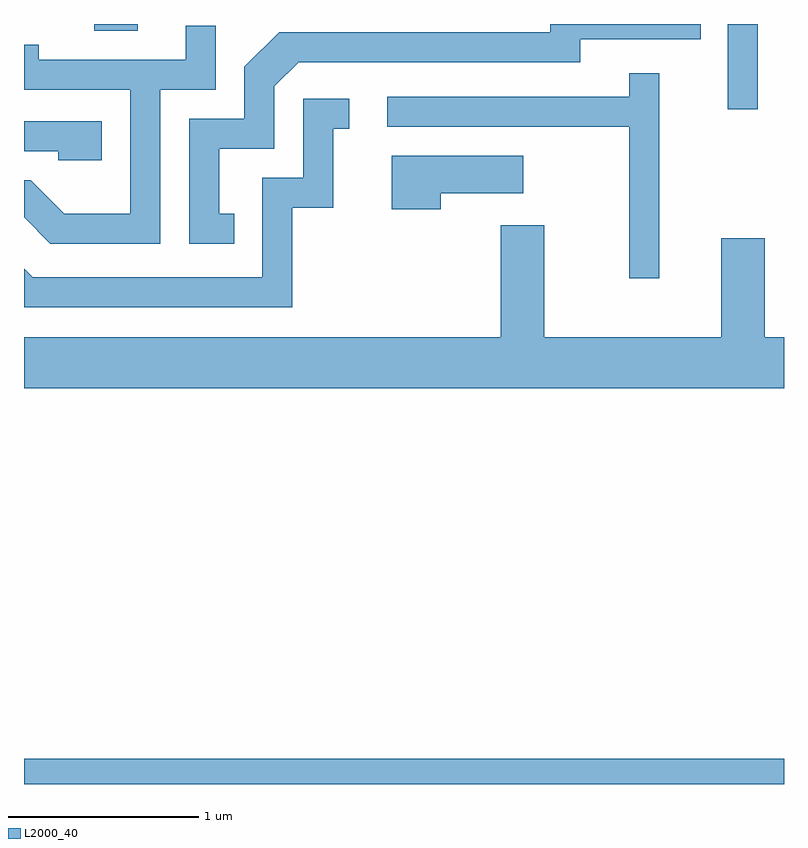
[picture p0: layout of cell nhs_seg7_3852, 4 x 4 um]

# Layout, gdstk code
import gdstk
lib = gdstk.Library(unit=1e-6, precision=1e-09)
def R(c, l, rs):  # rectangles x0, y0, x1, y1
    for r in rs: c.add(gdstk.rectangle(r[:2], r[2:], *l))
def P(c, l, *ps):  # polygons
    for p in ps: c.add(gdstk.Polygon(p, *l))
L2000_40 = (2000, 40)

nhs_seg7_3852 = lib.new_cell('nhs_seg7_3852')
R(nhs_seg7_3852, L2000_40, [(303.611,1692.252,307.611,1692.384), (307.316,1695.803,307.474,1696.252), (303.981,1696.216,304.209,1696.252)])
P(nhs_seg7_3852, L2000_40, [(304.718,1695.254),(304.639,1695.254),(304.639,1695.596),(304.929,1695.596),(304.929,1695.924),(305.057,1696.051),(306.539,1696.051),(306.539,1696.171),(307.173,1696.171),(307.173,1696.252),(306.381,1696.252),(306.381,1696.209),(304.954,1696.209),(304.771,1696.027),(304.771,1695.754),(304.481,1695.754),(304.481,1695.096),(304.718,1695.096)],
  [(304.329,1695.906),(304.619,1695.906),(304.619,1696.243),(304.461,1696.243),(304.461,1696.064),(303.689,1696.064),(303.689,1696.143),(303.611,1696.143),(303.611,1695.906),(304.171,1695.906),(304.171,1695.254),(303.822,1695.254),(303.647,1695.429),(303.611,1695.429),(303.611,1695.234),(303.749,1695.096),(304.329,1695.096)],
  [(306.954,1695.993),(306.796,1695.993),(306.796,1695.869),(305.523,1695.869),(305.523,1695.711),(306.796,1695.711),(306.796,1694.913),(306.954,1694.913)],
  [(305.024,1695.286),(305.239,1695.286),(305.239,1695.701),(305.323,1695.701),(305.323,1695.859),(305.081,1695.859),(305.081,1695.444),(304.866,1695.444),(304.866,1694.919),(303.657,1694.919),(303.611,1694.965),(303.611,1694.761),(305.024,1694.761)],
  [(304.019,1695.739),(303.611,1695.739),(303.611,1695.581),(303.791,1695.581),(303.791,1695.536),(304.019,1695.536)],
  [(305.804,1695.361),(306.239,1695.361),(306.239,1695.559),(305.546,1695.559),(305.546,1695.276),(305.804,1695.276)],
  [(307.611,1694.604),(307.509,1694.604),(307.509,1695.124),(307.281,1695.124),(307.281,1694.604),(306.349,1694.604),(306.349,1695.194),(306.121,1695.194),(306.121,1694.604),(303.611,1694.604),(303.611,1694.336),(307.611,1694.336)])

lib.write_gds('nhs_seg7_3852.gds')
